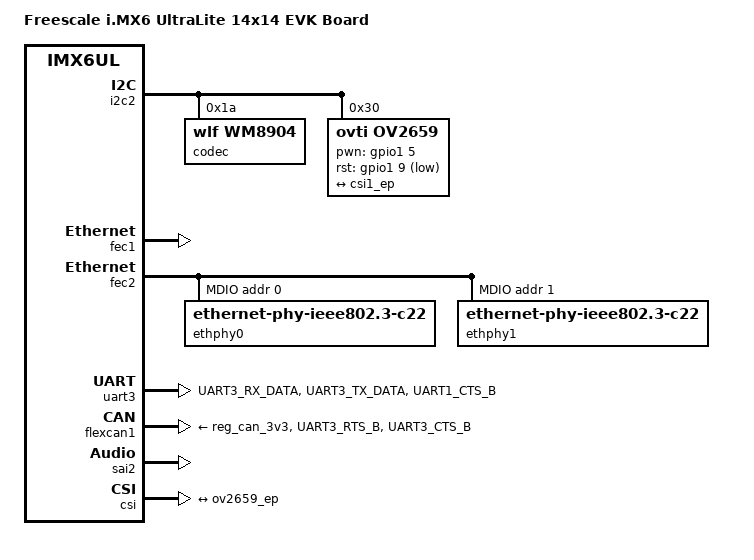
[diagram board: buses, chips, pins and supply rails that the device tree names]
/*
 * Copyright (C) 2017 MYiR Technology Company
 *
 * This program is free software; you can redistribute it and/or modify
 * it under the terms of the GNU General Public License version 2 as
 * published by the Free Software Foundation.
 */

&iomuxc {
	imx6ul-evk {
		pinctrl_flexcan1: flexcan1grp{
			fsl,pins = <
				MX6UL_PAD_UART3_RTS_B__FLEXCAN1_RX	0x1b020
				MX6UL_PAD_UART3_CTS_B__FLEXCAN1_TX	0x1b020
			>;
		};

        pinctrl_uart3: uart3grp {
			fsl,pins = <
				MX6UL_PAD_UART3_RX_DATA__UART3_DCE_RX	0x1b0b1
				MX6UL_PAD_UART3_TX_DATA__UART3_DCE_TX	0x1b0b1
				MX6UL_PAD_UART1_CTS_B__GPIO1_IO18       0x1b0b1 /* RS485 RE/DE */
			>;
		};

        pinctrl_enet1_alt: enet1grp {
			fsl,pins = <
				MX6UL_PAD_ENET1_RX_EN__ENET1_RX_EN	0x1b0b0
				MX6UL_PAD_ENET1_RX_ER__ENET1_RX_ER	0x1b0b0
				MX6UL_PAD_ENET1_RX_DATA0__ENET1_RDATA00	0x1b0b0
				MX6UL_PAD_ENET1_RX_DATA1__ENET1_RDATA01	0x1b0b0
				MX6UL_PAD_ENET1_TX_EN__ENET1_TX_EN	0x1b0b0
				MX6UL_PAD_ENET1_TX_DATA0__ENET1_TDATA00	0x1b0b0
				MX6UL_PAD_ENET1_TX_DATA1__ENET1_TDATA01	0x1b0b0
				MX6UL_PAD_ENET1_TX_CLK__ENET1_REF_CLK1	0x4001b031
				MX6UL_PAD_SNVS_TAMPER6__GPIO5_IO06	0x1b0b0
			>;
		};
    };
};

&i2c2 {

	codec: wm8904@1a {
		compatible = "wlf,wm8904";
		reg = <0x1a>;
		clocks = <&clks IMX6UL_CLK_SAI2>;
		clock-names = "mclk";
	};

	ov2659: ov2659@30 {
		compatible = "ovti,ov2659";
		reg = <0x30>;
		pinctrl-names = "default";
		pinctrl-0 = <&pinctrl_csi1>;
		clocks = <&clks IMX6UL_CLK_CSI>;
		clock-names = "xvclk";
		pwn-gpios = <&gpio1 5 GPIO_ACTIVE_HIGH>;
	    rst-gpios = <&gpio1 9 GPIO_ACTIVE_LOW>;
		status = "okay";
		port {
			ov2659_ep: endpoint {
				remote-endpoint = <&csi1_ep>;
                link-frequencies = /bits/ 64 <70000000>;
			};
		};
	};
};

&fec1 {
    pinctrl-names = "default";
    pinctrl-0 = "pinctrl_enet1_alt";
    status = "okay";
    /delete-node/ mdio;
};

&fec2 {
    status = "okay";

    mdio {
		#address-cells = <1>;
		#size-cells = <0>;

		ethphy0: ethernet-phy@0 {
			compatible = "ethernet-phy-ieee802.3-c22";
			reg = <0>;
		};
		ethphy1: ethernet-phy@1 {
			compatible = "ethernet-phy-ieee802.3-c22";
			reg = <1>;
		};
	};
};

&uart3 {
	pinctrl-names = "default";
	pinctrl-0 = <&pinctrl_uart3>;
	fsl,rs485-gpio-txen = <&gpio1 18 GPIO_ACTIVE_HIGH>;
    linux,rs485-enabled-at-boot-time;
	status = "okay";
};

&flexcan1 {
	pinctrl-names = "default";
	pinctrl-0 = <&pinctrl_flexcan1>;
	xceiver-supply = <&reg_can_3v3>;
	status = "okay";
};

&sai2 {
    status = "okay";
};

&csi {
	status = "okay";

	port {
		csi1_ep: endpoint {
			remote-endpoint = <&ov2659_ep>;
		};
	};
};

/ {
	model = "Freescale i.MX6 UltraLite 14x14 EVK Board";
	compatible = "fsl,imx6ul-14x14-evk", "fsl,imx6ul";
    sound {
		compatible = "fsl,imx6ul-evk-wm8904",
			   "fsl,imx-audio-wm8904";
		model = "wm8904-audio";
		cpu-dai = <&sai2>;
		audio-codec = <&codec>;
		asrc-controller = <&asrc>;
		gpr = <&gpr>;
		audio-routing =
			"Headphone Jack", "HPOUTL",
			"Headphone Jack", "HPOUTR",
			"IN2L", "Line In Jack",
			"IN2R", "Line In Jack",
			"Mic", "MICBIAS",
			"IN1L", "Mic";
    };
};
